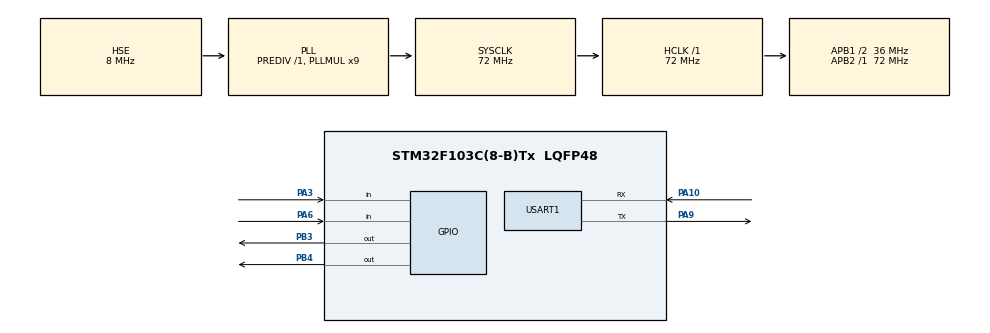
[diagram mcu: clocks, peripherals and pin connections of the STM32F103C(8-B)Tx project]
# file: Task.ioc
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FREERTOS.Tasks01=LED1,0,128,Task01,Default,NULL,Dynamic,NULL,NULL;LED2,0,128,Task02,Default,NULL,Dynamic,NULL,NULL;KEY3,0,128,Task03,Default,NULL,Dynamic,NULL,NULL;KEY6,-3,128,Task04,Default,NULL,Dynamic,NULL,NULL
Mcu.Family=STM32F1
Mcu.Name=STM32F103C(8-B)Tx
Mcu.Package=LQFP48
NVIC.PriorityGroup=NVIC_PRIORITYGROUP_4
NVIC.TIM2_IRQn=true\:15\:0\:false\:false\:true\:false\:false\:true\:true
NVIC.TimeBase=TIM2_IRQn
NVIC.TimeBaseIP=TIM2
PA10.Mode=Asynchronous
PA10.Signal=USART1_RX
PA13.Mode=Serial_Wire
PA13.Signal=SYS_JTMS-SWDIO
PA14.Mode=Serial_Wire
PA14.Signal=SYS_JTCK-SWCLK
PA3.GPIO_PuPd=GPIO_PULLDOWN
PA3.Signal=GPIO_Input
PA6.GPIO_PuPd=GPIO_PULLDOWN
PA6.Signal=GPIO_Input
PA9.Mode=Asynchronous
PA9.Signal=USART1_TX
PB3.Signal=GPIO_Output
PB4.Signal=GPIO_Output
PC14-OSC32_IN.Mode=LSE-External-Oscillator
PC14-OSC32_IN.Signal=RCC_OSC32_IN
PC15-OSC32_OUT.Mode=LSE-External-Oscillator
PC15-OSC32_OUT.Signal=RCC_OSC32_OUT
PD0-OSC_IN.Mode=HSE-External-Oscillator
PD0-OSC_IN.Signal=RCC_OSC_IN
PD1-OSC_OUT.Mode=HSE-External-Oscillator
PD1-OSC_OUT.Signal=RCC_OSC_OUT
ProjectManager.HeapSize=0x200
ProjectManager.StackSize=0x400
ProjectManager.TargetToolchain=MDK-ARM V5.27
RCC.AHBFreq_Value=72000000
RCC.APB1CLKDivider=RCC_HCLK_DIV2
RCC.APB1Freq_Value=36000000
RCC.APB1TimFreq_Value=72000000
RCC.APB2Freq_Value=72000000
RCC.APB2TimFreq_Value=72000000
RCC.HCLKFreq_Value=72000000
RCC.PLLMUL=RCC_PLL_MUL9
RCC.PLLSourceVirtual=RCC_PLLSOURCE_HSE
RCC.SYSCLKFreq_VALUE=72000000
RCC.SYSCLKSource=RCC_SYSCLKSOURCE_PLLCLK
RCC.USBFreq_Value=72000000
USART1.VirtualMode=VM_ASYNC
VP_FREERTOS_VS_CMSIS_V1.Mode=CMSIS_V1
VP_SYS_VS_tim2.Mode=TIM2
board=custom

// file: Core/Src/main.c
/* USER CODE BEGIN Header */
/**
  ******************************************************************************
  * @file           : main.c
  * @brief          : Main program body
  ******************************************************************************
  * @attention
  *
  * Copyright (c) 2024 STMicroelectronics.
  * All rights reserved.
  *
  * This software is licensed under terms that can be found in the LICENSE file
  * in the root directory of this software component.
  * If no LICENSE file comes with this software, it is provided AS-IS.
  *
  ******************************************************************************
  */
/* USER CODE END Header */
#include "main.h"
#include "cmsis_os.h"
#include "usart.h"
#include "gpio.h"

void SystemClock_Config(void);
void MX_FREERTOS_Init(void);

int main(void)
{

  /* MCU Configuration--------------------------------------------------------*/

  /* Reset of all peripherals, Initializes the Flash interface and the Systick. */
  HAL_Init();

  /* Configure the system clock */
  SystemClock_Config();

  /* Initialize all configured peripherals */
  MX_GPIO_Init();
  MX_USART1_UART_Init();

  /* Call init function for freertos objects (in freertos.c) */
  MX_FREERTOS_Init();

  /* Start scheduler */
  osKernelStart();

  /* We should never get here as control is now taken by the scheduler */
  /* Infinite loop */
  while (1)
  {

  }
}

void SystemClock_Config(void)
{
  RCC_OscInitTypeDef RCC_OscInitStruct = {0};
  RCC_ClkInitTypeDef RCC_ClkInitStruct = {0};

  /** Initializes the RCC Oscillators according to the specified parameters
  * in the RCC_OscInitTypeDef structure.
  */
  RCC_OscInitStruct.OscillatorType = RCC_OSCILLATORTYPE_HSE;
  RCC_OscInitStruct.HSEState = RCC_HSE_ON;
  RCC_OscInitStruct.HSEPredivValue = RCC_HSE_PREDIV_DIV1;
  RCC_OscInitStruct.HSIState = RCC_HSI_ON;
  RCC_OscInitStruct.PLL.PLLState = RCC_PLL_ON;
  RCC_OscInitStruct.PLL.PLLSource = RCC_PLLSOURCE_HSE;
  RCC_OscInitStruct.PLL.PLLMUL = RCC_PLL_MUL9;
  if (HAL_RCC_OscConfig(&RCC_OscInitStruct) != HAL_OK)
  {
    Error_Handler();
  }

  /** Initializes the CPU, AHB and APB buses clocks
  */
  RCC_ClkInitStruct.ClockType = RCC_CLOCKTYPE_HCLK|RCC_CLOCKTYPE_SYSCLK
                              |RCC_CLOCKTYPE_PCLK1|RCC_CLOCKTYPE_PCLK2;
  RCC_ClkInitStruct.SYSCLKSource = RCC_SYSCLKSOURCE_PLLCLK;
  RCC_ClkInitStruct.AHBCLKDivider = RCC_SYSCLK_DIV1;
  RCC_ClkInitStruct.APB1CLKDivider = RCC_HCLK_DIV2;
  RCC_ClkInitStruct.APB2CLKDivider = RCC_HCLK_DIV1;

  if (HAL_RCC_ClockConfig(&RCC_ClkInitStruct, FLASH_LATENCY_2) != HAL_OK)
  {
    Error_Handler();
  }
}

void HAL_TIM_PeriodElapsedCallback(TIM_HandleTypeDef *htim)
{
  if (htim->Instance == TIM2) {
    HAL_IncTick();
  }
}

void Error_Handler(void)
{
  __disable_irq();
  while (1)
  {
  }
}

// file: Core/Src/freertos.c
/* USER CODE BEGIN Header */
/**
 ******************************************************************************
 * File Name          : freertos.c
 * Description        : Code for freertos applications
 ******************************************************************************
 * @attention
 *
 * Copyright (c) 2024 STMicroelectronics.
 * All rights reserved.
 *
 * This software is licensed under terms that can be found in the LICENSE file
 * in the root directory of this software component.
 * If no LICENSE file comes with this software, it is provided AS-IS.
 *
 ******************************************************************************
 */
/* USER CODE END Header */

#include "FreeRTOS.h"
#include "task.h"
#include "main.h"
#include "cmsis_os.h"

/* USER CODE BEGIN Variables */
extern UART_HandleTypeDef huart1;

/* USER CODE END Variables */
osThreadId LED1Handle;
osThreadId LED2Handle;
osThreadId KEY3Handle;
osThreadId KEY6Handle;

void Task01(void const * argument);
void Task02(void const * argument);
void Task03(void const * argument);
void Task04(void const * argument);

void MX_FREERTOS_Init(void); /* (MISRA C 2004 rule 8.1) */

/* GetIdleTaskMemory prototype (linked to static allocation support) */
void vApplicationGetIdleTaskMemory( StaticTask_t **ppxIdleTaskTCBBuffer, StackType_t **ppxIdleTaskStackBuffer, uint32_t *pulIdleTaskStackSize );

/* USER CODE BEGIN GET_IDLE_TASK_MEMORY */
static StaticTask_t xIdleTaskTCBBuffer;
static StackType_t xIdleStack[configMINIMAL_STACK_SIZE];

void vApplicationGetIdleTaskMemory(StaticTask_t **ppxIdleTaskTCBBuffer, StackType_t **ppxIdleTaskStackBuffer, uint32_t *pulIdleTaskStackSize)
{
  *ppxIdleTaskTCBBuffer = &xIdleTaskTCBBuffer;
  *ppxIdleTaskStackBuffer = &xIdleStack[0];
  *pulIdleTaskStackSize = configMINIMAL_STACK_SIZE;
  /* place for user code */
}
/* USER CODE END GET_IDLE_TASK_MEMORY */

void MX_FREERTOS_Init(void) {

  /* Create the thread(s) */
  /* definition and creation of LED1 */
  osThreadDef(LED1, Task01, osPriorityNormal, 0, 128);
  LED1Handle = osThreadCreate(osThread(LED1), NULL);

  /* definition and creation of LED2 */
  osThreadDef(LED2, Task02, osPriorityNormal, 0, 128);
  LED2Handle = osThreadCreate(osThread(LED2), NULL);

  /* definition and creation of KEY3 */
  osThreadDef(KEY3, Task03, osPriorityNormal, 0, 128);
  KEY3Handle = osThreadCreate(osThread(KEY3), NULL);

  /* definition and creation of KEY6 */
  osThreadDef(KEY6, Task04, osPriorityIdle, 0, 128);
  KEY6Handle = osThreadCreate(osThread(KEY6), NULL);

}

void Task01(void const * argument)
{
  /* USER CODE BEGIN Task01 */
  /* Infinite loop */
  for (;;)
  {
    HAL_GPIO_TogglePin(GPIOB, GPIO_PIN_3);
    osDelay(1000);
  }
  /* USER CODE END Task01 */
}

void Task02(void const * argument)
{
  /* USER CODE BEGIN Task02 */
  /* Infinite loop */
  for (;;)
  {
    // HAL_GPIO_TogglePin(GPIOB, GPIO_PIN_4);
    // osDelay(500);
    HAL_GPIO_WritePin(GPIOB, GPIO_PIN_4, GPIO_PIN_SET);
    osDelay(500);
    HAL_GPIO_WritePin(GPIOB, GPIO_PIN_4, GPIO_PIN_RESET);
    osDelay(200);

  }
  /* USER CODE END Task02 */
}

void Task03(void const * argument)
{
  /* USER CODE BEGIN Task03 */
  //按键1控制LED1线程的删除和创建,按键:PA3,    LED1:PB3
  /* Infinite loop */
  for (;;)
  {
    osDelay(1);
    if (HAL_GPIO_ReadPin(GPIOA, GPIO_PIN_3) == 1)
    {
      osDelay(20);
      if (HAL_GPIO_ReadPin(GPIOA, GPIO_PIN_3) == 1)
      {
        if (LED1Handle == NULL)
        {//任务创建
          osThreadDef(LED1, Task01, osPriorityNormal, 0, 128);
          LED1Handle = osThreadCreate(osThread(LED1), NULL);
          HAL_UART_Transmit(&huart1, (uint8_t *)"LED1 is OK\r\n", 12, 1000);
        }
        else
        {//任务删除
          vTaskDelete(LED1Handle);
          LED1Handle = NULL;
          HAL_UART_Transmit(&huart1, (uint8_t *)"LED1 is NO\r\n", 12, 1000);
        }
      }
      while(HAL_GPIO_ReadPin(GPIOA, GPIO_PIN_3) == 1);
    }
  }
  /* USER CODE END Task03 */
}

void Task04(void const * argument)
{
  /* USER CODE BEGIN Task04 */
  static uint8_t flag = 1;
  //按键控制LED2线程的挂起和恢复,按键:PA6,    LED2:PB4
  /* Infinite loop */
  for(;;)
  {
    if(HAL_GPIO_ReadPin(GPIOA, GPIO_PIN_6) == 1)
    {
      osDelay(20);
      if(HAL_GPIO_ReadPin(GPIOA, GPIO_PIN_6) == 1)
      {
        if(flag == 0)
        {
          flag = 1;//开始
          vTaskResume(LED2Handle);
          HAL_UART_Transmit(&huart1, (uint8_t *)"LED2 is OK\r\n", 13, 1000);
        }
        else
        {
          flag = 0;//停止
          vTaskSuspend(LED2Handle);
          HAL_UART_Transmit(&huart1, (uint8_t *)"LED2 is NO\r\n", 13, 1000);
        }
        while(HAL_GPIO_ReadPin(GPIOA, GPIO_PIN_6) == 1);
      }
    }
  }
  /* USER CODE END Task04 */
}
